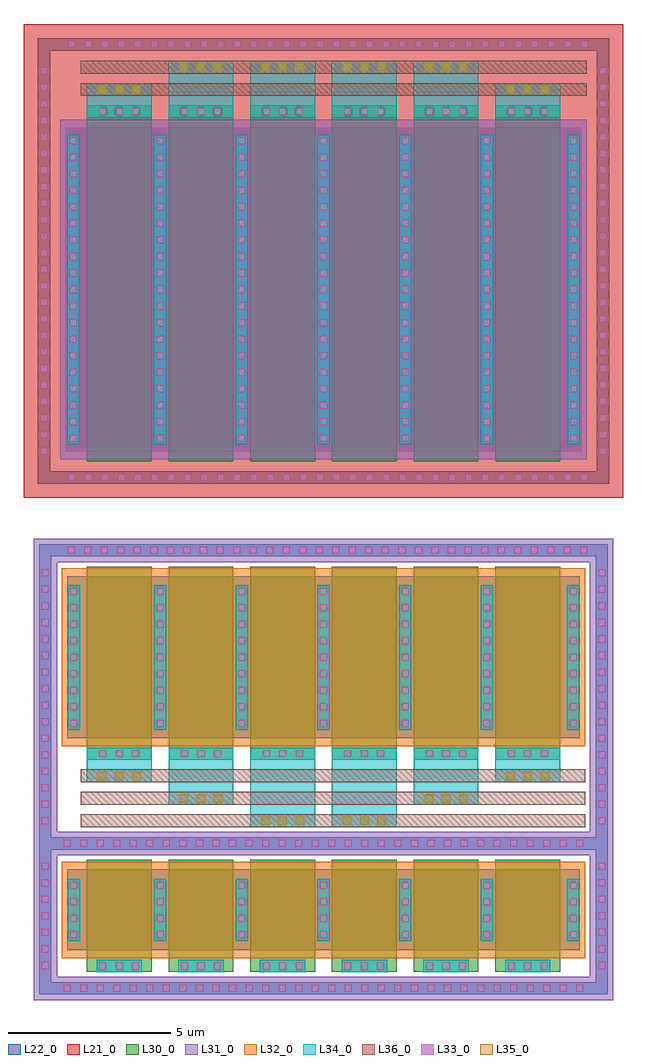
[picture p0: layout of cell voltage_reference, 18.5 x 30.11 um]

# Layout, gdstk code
import gdstk
lib = gdstk.Library(unit=1e-6, precision=5e-09)
def R(c, l, rs):  # rectangles x0, y0, x1, y1
    for r in rs: c.add(gdstk.rectangle(r[:2], r[2:], *l))
def A(c, l, x, y, w, h, nx, ny, dx, dy):  # array of equal rectangles
    R(c, l, [(x+i*dx, y+j*dy, x+i*dx+w, y+j*dy+h) for i in range(nx) for j in range(ny)])
def P(c, l, *ps):  # polygons
    for p in ps: c.add(gdstk.Polygon(p, *l))
L21_0 = (21, 0)
L22_0 = (22, 0)
L30_0 = (30, 0)
L31_0 = (31, 0)
L32_0 = (32, 0)
L33_0 = (33, 0)
L34_0 = (34, 0)
L35_0 = (35, 0)
L36_0 = (36, 0)

nfet = lib.new_cell('nfet')
R(nfet, L22_0, [(-0.42,0,0,2.5), (0,0,14.98,2.5), (14.98,0,15.4,2.5)])
P(nfet, L22_0, [(-1.28,-1.36),(-1.28,3.11),(-0.9,3.11),(-0.9,-0.98),(15.88,-0.98),(15.88,3.11),(-1.28,3.11),(-1.28,3.49),(16.26,3.49),(16.26,-1.36)])
A(nfet, L30_0, 0.19, -0.66, 2, 0.36, 6, 1, 2.52, 0)
A(nfet, L30_0, 0.19, -0.3, 2, 3.1, 6, 1, 2.52, 0)
P(nfet, L31_0, [(-1.45,-1.53),(-1.45,2.94),(-0.73,2.94),(-0.73,-0.81),(15.71,-0.81),(15.71,2.94),(-1.45,2.94),(-1.45,3.66),(16.43,3.66),(16.43,-1.53)])
R(nfet, L32_0, [(-0.59,-0.24,15.57,2.74)])
A(nfet, L33_0, -0.525, -1.28, 0.22, 0.22, 32, 2, 0.51, 4.47)
A(nfet, L33_0, 0.57, -0.59, 0.22, 0.22, 3, 1, 0.51, 0)
A(nfet, L33_0, 3.09, -0.59, 0.22, 0.22, 3, 1, 0.51, 0)
A(nfet, L33_0, 5.61, -0.59, 0.22, 0.22, 3, 1, 0.51, 0)
A(nfet, L33_0, 8.13, -0.59, 0.22, 0.22, 3, 1, 0.51, 0)
A(nfet, L33_0, 10.65, -0.59, 0.22, 0.22, 3, 1, 0.51, 0)
A(nfet, L33_0, 13.17, -0.59, 0.22, 0.22, 3, 1, 0.51, 0)
A(nfet, L33_0, -1.2, -0.575, 0.22, 0.22, 1, 7, 0, 0.51)
A(nfet, L33_0, 15.96, -0.575, 0.22, 0.22, 1, 7, 0, 0.51)
A(nfet, L33_0, -0.32, 0.375, 0.22, 0.22, 1, 4, 0, 0.51)
A(nfet, L33_0, 2.34, 0.375, 0.22, 0.22, 5, 4, 2.52, 0.51)
A(nfet, L33_0, 15.08, 0.375, 0.22, 0.22, 1, 4, 0, 0.51)
A(nfet, L34_0, 0.49, -0.67, 1.4, 0.38, 6, 1, 2.52, 0)
A(nfet, L34_0, 2.26, 0.295, 0.38, 1.91, 5, 1, 2.52, 0)
R(nfet, L34_0, [(-0.4,0.295,-0.02,2.205), (15,0.295,15.38,2.205)])

voltage_reference = lib.new_cell('voltage_reference')
R(voltage_reference, L21_0, [(7.805,29.03,26.305,43.65)])
R(voltage_reference, L22_0, [(9.145,21.615,9.565,26.615), (9.565,21.615,24.545,26.615), (24.545,21.615,24.965,26.615), (9.105,30.46,9.565,40.46), (9.565,30.46,24.545,40.46), (24.545,30.46,25.005,40.46)])
P(voltage_reference, L22_0, [(8.285,18.185),(8.285,27.225),(8.665,27.225),(8.665,18.565),(25.445,18.565),(25.445,27.225),(8.285,27.225),(8.285,27.605),(25.825,27.605),(25.825,18.185)],
  [(8.245,29.47),(8.245,42.83),(8.625,42.83),(8.625,29.85),(25.485,29.85),(25.485,42.83),(8.245,42.83),(8.245,43.21),(25.865,43.21),(25.865,29.47)])
A(voltage_reference, L30_0, 9.755, 20.955, 2, 0.36, 6, 1, 2.52, 0)
A(voltage_reference, L30_0, 9.755, 21.315, 2, 5.6, 6, 1, 2.52, 0)
A(voltage_reference, L30_0, 9.755, 30.16, 2, 10.6, 6, 1, 2.52, 0)
A(voltage_reference, L30_0, 9.755, 40.76, 2, 0.38, 6, 1, 2.52, 0)
R(voltage_reference, L31_0, [(8.935,30.22,25.175,40.7)])
P(voltage_reference, L31_0, [(8.115,18.015),(8.115,27.055),(8.835,27.055),(8.835,18.735),(25.275,18.735),(25.275,27.055),(8.115,27.055),(8.115,27.775),(25.995,27.775),(25.995,18.015)])
R(voltage_reference, L32_0, [(8.975,21.375,25.135,26.855)])
A(voltage_reference, L33_0, 9.04, 18.265, 0.22, 0.22, 32, 1, 0.51, 0)
A(voltage_reference, L33_0, 8.365, 18.96, 0.22, 0.22, 1, 16, 0, 0.51)
A(voltage_reference, L33_0, 25.525, 18.96, 0.22, 0.22, 1, 16, 0, 0.51)
A(voltage_reference, L33_0, 10.135, 21.025, 0.22, 0.22, 3, 2, 0.51, 19.815)
A(voltage_reference, L33_0, 12.655, 21.025, 0.22, 0.22, 3, 2, 0.51, 19.815)
A(voltage_reference, L33_0, 15.175, 21.025, 0.22, 0.22, 3, 2, 0.51, 19.815)
A(voltage_reference, L33_0, 17.695, 21.025, 0.22, 0.22, 3, 2, 0.51, 19.815)
A(voltage_reference, L33_0, 20.215, 21.025, 0.22, 0.22, 3, 2, 0.51, 19.815)
A(voltage_reference, L33_0, 22.735, 21.025, 0.22, 0.22, 3, 2, 0.51, 19.815)
A(voltage_reference, L33_0, 9.245, 21.965, 0.22, 0.22, 1, 9, 0, 0.51)
A(voltage_reference, L33_0, 11.905, 21.965, 0.22, 0.22, 5, 9, 2.52, 0.51)
A(voltage_reference, L33_0, 24.645, 21.965, 0.22, 0.22, 1, 9, 0, 0.51)
A(voltage_reference, L33_0, 9.165, 27.305, 0.22, 0.22, 32, 1, 0.51, 0)
A(voltage_reference, L33_0, 9.185, 29.55, 0.22, 0.22, 32, 2, 0.51, 13.36)
A(voltage_reference, L33_0, 8.325, 30.365, 0.22, 0.22, 1, 24, 0, 0.51)
A(voltage_reference, L33_0, 25.565, 30.365, 0.22, 0.22, 1, 24, 0, 0.51)
A(voltage_reference, L33_0, 9.225, 30.76, 0.22, 0.22, 1, 19, 0, 0.51)
A(voltage_reference, L33_0, 11.905, 30.76, 0.22, 0.22, 5, 19, 2.52, 0.51)
A(voltage_reference, L33_0, 24.665, 30.76, 0.22, 0.22, 1, 19, 0, 0.51)
A(voltage_reference, L34_0, 10.055, 20.945, 1.4, 0.38, 6, 2, 2.52, 19.815)
A(voltage_reference, L34_0, 11.825, 21.885, 0.38, 4.46, 5, 1, 2.52, 0)
A(voltage_reference, L34_0, 11.825, 30.68, 0.38, 9.56, 5, 1, 2.52, 0)
A(voltage_reference, L34_0, 12.275, 40.76, 2, 1.76, 4, 1, 2.52, 0)
R(voltage_reference, L34_0, [(14.795,18.875,16.795,21.325), (17.315,18.875,19.315,21.325), (12.275,19.565,14.275,21.325), (19.835,19.565,21.835,21.325), (9.755,20.255,11.755,21.325), (22.355,20.255,24.355,21.325), (9.165,21.885,9.545,26.345), (24.565,21.885,24.945,26.345), (9.145,30.68,9.525,40.24), (24.585,30.68,24.965,40.24), (9.755,40.76,11.755,41.83), (22.355,40.76,24.355,41.83)])
A(voltage_reference, L35_0, 15.135, 18.945, 0.26, 0.26, 3, 2, 0.53, 23.245)
A(voltage_reference, L35_0, 17.655, 18.945, 0.26, 0.26, 3, 2, 0.53, 23.245)
A(voltage_reference, L35_0, 12.615, 19.635, 0.26, 0.26, 3, 2, 0.53, 22.555)
A(voltage_reference, L35_0, 20.175, 19.635, 0.26, 0.26, 3, 2, 0.53, 22.555)
A(voltage_reference, L35_0, 10.095, 20.325, 0.26, 0.26, 3, 2, 0.53, 21.175)
A(voltage_reference, L35_0, 22.695, 20.325, 0.26, 0.26, 3, 2, 0.53, 21.175)
A(voltage_reference, L36_0, 9.565, 18.875, 15.57, 0.4, 1, 3, 0, 0.69)
R(voltage_reference, L36_0, [(9.565,41.43,25.175,41.83), (9.565,42.12,25.175,42.52)])
voltage_reference.add(gdstk.Reference(nfet, (9.565,15.075)))

lib.write_gds('voltage_reference.gds')
